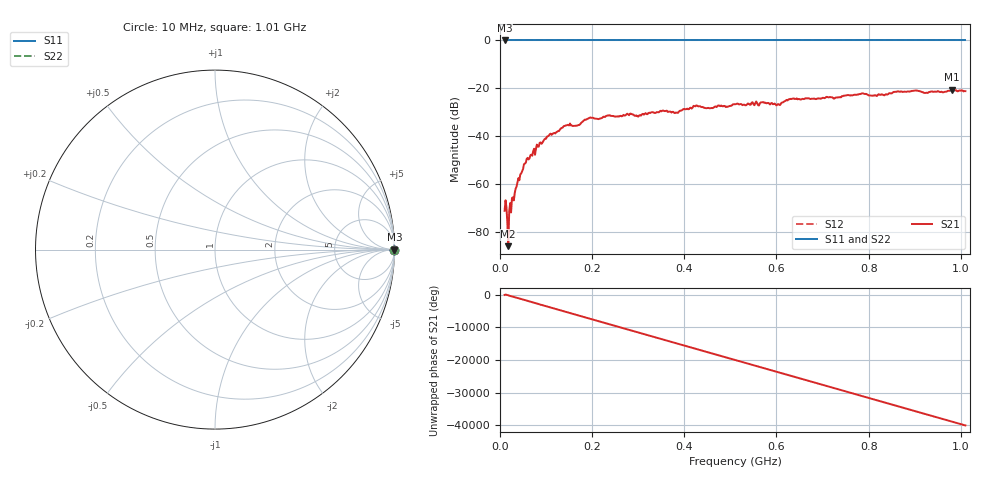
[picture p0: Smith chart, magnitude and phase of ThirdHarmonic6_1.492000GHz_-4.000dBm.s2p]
! 8/16/2025 5:29:03 PM
! C:\ANRITSUVNA\TEMP\TEMP.S2P
! CHANNEL.1
! TR.MEASUREMENT
! RAW.DATA
! RF.CORRECTION.OFF
! AVERAGING.OFF
! IF.BANDWIDTH: 5KHZ
! SWEEPTYPE:  FREQ.SWEEP(Linear)
! Reference Plane Port Info
! PORT:  PORT1  PORT2
! DISTANCE:  0  m  0  m
! TIME:  0  s  0  s
! PHASE.OFFSET:  0  deg.  0  deg.
! LOSS:  0  dB  0  dB
! REF.LOSS:  0  dB  0  dB
! REF.FREQ:  0  Hz  0  Hz
! Power Info
! POWER:  -20  dBm  -20  dBm
! EFF.POWER:  -20  dBm  -20  dBm
! SOURCE.ATTEN:  0  dB  0  dB
! TEST.ATTEN:  0  dB  0  dB
# GHZ S RI R 50.0
! FREQ.GHZ  S11RE  S11IM  S21RE  S21IM  S12RE  S12IM  S22RE  S22IM
!; PortSelection: Port_12
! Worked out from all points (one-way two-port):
!   501 points, 10 MHz to 1.01 GHz, reference 50 ohm
!   highest |S21| = -20.57 dB at 980 MHz (marker M1); lowest = -85.8 dB at 18 MHz (marker M2)
!   lowest |S11| = 0.0 dB at 10 MHz (marker M3)
!   |S11| at or under -10 dB: nowhere
!   |S22| runs from 0.0 to 0.0 dB; largest |S21 - S12| = 1.1
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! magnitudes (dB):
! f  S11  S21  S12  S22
! 10 MHz  0.0  -71.1  0.0  0.0
! 14 MHz  0.0  -69.6  0.0  0.0
! 18 MHz  0.0  -85.8  0.0  0.0
! 20 MHz  0.0  -71.3  0.0  0.0
! 24 MHz  0.0  -71.8  0.0  0.0
! 36 MHz  0.0  -60.9  0.0  0.0
! 56 MHz  0.0  -51.0  0.0  0.0
! 84 MHz  0.0  -44.3  0.0  0.0
! 142 MHz  0.0  -35.5  0.0  0.0
! 178 MHz  0.0  -34.1  0.0  0.0
! 196 MHz  0.0  -32.1  0.0  0.0
! 344 MHz  0.0  -30.0  0.0  0.0
! 382 MHz  0.0  -30.0  0.0  0.0
! 424 MHz  0.0  -27.5  0.0  0.0
! 458 MHz  0.0  -28.2  0.0  0.0
! 510 MHz  0.0  -26.6  0.0  0.0
! 604 MHz  0.0  -26.6  0.0  0.0
! 632 MHz  0.0  -24.5  0.0  0.0
! 678 MHz  0.0  -24.3  0.0  0.0
! 844 MHz  0.0  -22.1  0.0  0.0
! 980 MHz  0.0  -20.6  0.0  0.0
! 1.01 GHz  0.0  -21.1  0.0  0.0
